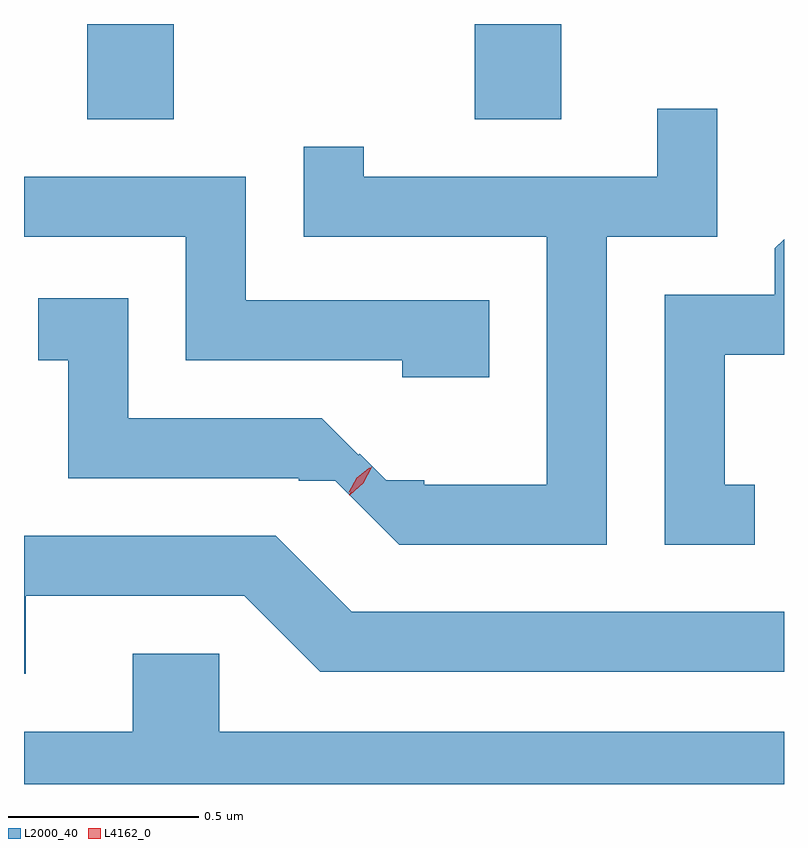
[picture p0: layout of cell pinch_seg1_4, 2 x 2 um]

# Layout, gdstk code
import gdstk
lib = gdstk.Library(unit=1e-6, precision=1e-09)
def R(c, l, rs):  # rectangles x0, y0, x1, y1
    for r in rs: c.add(gdstk.rectangle(r[:2], r[2:], *l))
def P(c, l, *ps):  # polygons
    for p in ps: c.add(gdstk.Polygon(p, *l))
L2000_40 = (2000, 40)
L4162_0 = (4162, 0)

pinch_seg1_4 = lib.new_cell('pinch_seg1_4')
R(pinch_seg1_4, L2000_40, [(1516.561,861.496,1516.789,861.746), (1517.581,861.496,1517.809,861.746)])
P(pinch_seg1_4, L2000_40, [(1517.929,861.186),(1518.219,861.186),(1518.219,861.523),(1518.061,861.523),(1518.061,861.344),(1517.289,861.344),(1517.289,861.423),(1517.131,861.423),(1517.131,861.186),(1517.771,861.186),(1517.771,860.534),(1517.448,860.534),(1517.448,860.546),(1517.348,860.546),(1517.278,860.615),(1517.275,860.612),(1517.178,860.709),(1516.669,860.709),(1516.669,861.024),(1516.433,861.024),(1516.433,860.861),(1516.511,860.861),(1516.511,860.551),(1517.118,860.551),(1517.118,860.544),(1517.214,860.544),(1517.382,860.376),(1517.929,860.376)],
  [(1517.619,861.019),(1516.979,861.019),(1516.979,861.344),(1516.395,861.344),(1516.395,861.186),(1516.821,861.186),(1516.821,860.861),(1517.391,860.861),(1517.391,860.816),(1517.619,860.816)],
  [(1518.318,860.534),(1518.239,860.534),(1518.239,860.876),(1518.395,860.876),(1518.395,861.18),(1518.371,861.156),(1518.371,861.034),(1518.081,861.034),(1518.081,860.376),(1518.318,860.376)],
  [(1516.399,860.241),(1516.974,860.241),(1517.174,860.041),(1518.395,860.041),(1518.395,860.199),(1517.257,860.199),(1517.057,860.399),(1516.395,860.399),(1516.395,860.036),(1516.399,860.036)],
  [(1518.395,859.884),(1516.909,859.884),(1516.909,860.089),(1516.681,860.089),(1516.681,859.884),(1516.395,859.884),(1516.395,859.746),(1518.395,859.746)])
P(pinch_seg1_4, L4162_0, [(1517.251,860.506),(1517.251,860.507),(1517.273,860.55),(1517.31,860.581),(1517.31,860.581),(1517.31,860.58),(1517.288,860.537),(1517.252,860.506)],
  [(1517.25,860.514),(1517.25,860.514),(1517.27,860.552),(1517.303,860.578),(1517.304,860.578),(1517.304,860.578),(1517.285,860.54),(1517.251,860.514)])

lib.write_gds('pinch_seg1_4.gds')
